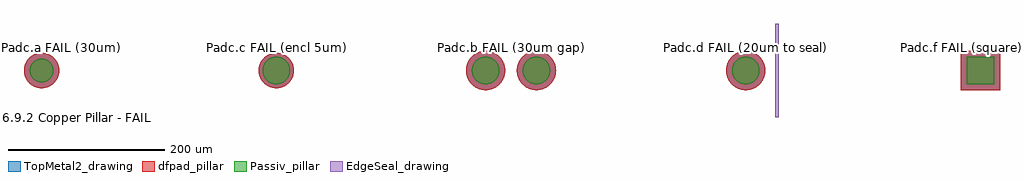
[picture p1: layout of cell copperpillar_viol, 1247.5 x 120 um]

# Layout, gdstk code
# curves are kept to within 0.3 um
import gdstk
lib = gdstk.Library(unit=1e-6, precision=1e-09)
def R(c, l, rs):  # rectangles x0, y0, x1, y1
    for r in rs: c.add(gdstk.rectangle(r[:2], r[2:], *l))
def P(c, l, *ps):  # polygons
    for p in ps: c.add(gdstk.Polygon(p, *l))
Passiv_pillar = (9, 35)
EdgeSeal_drawing = (39, 0)
dfpad_pillar = (41, 35)
TopMetal2_drawing = (134, 0)

copperpillar_viol = lib.new_cell('copperpillar_viol')
R(copperpillar_viol, Passiv_pillar, [(1182.5,-17.5,1217.5,17.5)])
P(copperpillar_viol, Passiv_pillar, [(0,-15),(-5.74,-13.858),(-10.607,-10.607),(-13.858,-5.74),(-15,0),(-13.858,5.74),(-10.607,10.607),(-5.74,13.858),(0,15),(5.74,13.858),(10.607,10.607),(13.858,5.74),(15,0),(13.858,-5.74),(10.607,-10.607),(5.74,-13.858)],
  [(300,-17.5),(296.586,-17.164),(293.303,-16.168),(290.278,-14.551),(287.626,-12.374),(285.449,-9.722),(283.832,-6.697),(282.836,-3.414),(282.5,0),(282.836,3.414),(283.832,6.697),(285.449,9.722),(287.626,12.374),(290.278,14.551),(293.303,16.168),(296.586,17.164),(300,17.5),(303.414,17.164),(306.697,16.168),(309.722,14.551),(312.374,12.374),(314.551,9.722),(316.168,6.697),(317.164,3.414),(317.5,0),(317.164,-3.414),(316.168,-6.697),(314.551,-9.722),(312.374,-12.374),(309.722,-14.551),(306.697,-16.168),(303.414,-17.164)],
  [(567.5,-17.5),(564.086,-17.164),(560.803,-16.168),(557.778,-14.551),(555.126,-12.374),(552.949,-9.722),(551.332,-6.697),(550.336,-3.414),(550,0),(550.336,3.414),(551.332,6.697),(552.949,9.722),(555.126,12.374),(557.778,14.551),(560.803,16.168),(564.086,17.164),(567.5,17.5),(570.914,17.164),(574.197,16.168),(577.222,14.551),(579.874,12.374),(582.051,9.722),(583.668,6.697),(584.664,3.414),(585,0),(584.664,-3.414),(583.668,-6.697),(582.051,-9.722),(579.874,-12.374),(577.222,-14.551),(574.197,-16.168),(570.914,-17.164)],
  [(632.5,-17.5),(629.086,-17.164),(625.803,-16.168),(622.778,-14.551),(620.126,-12.374),(617.949,-9.722),(616.332,-6.697),(615.336,-3.414),(615,0),(615.336,3.414),(616.332,6.697),(617.949,9.722),(620.126,12.374),(622.778,14.551),(625.803,16.168),(629.086,17.164),(632.5,17.5),(635.914,17.164),(639.197,16.168),(642.222,14.551),(644.874,12.374),(647.051,9.722),(648.668,6.697),(649.664,3.414),(650,0),(649.664,-3.414),(648.668,-6.697),(647.051,-9.722),(644.874,-12.374),(642.222,-14.551),(639.197,-16.168),(635.914,-17.164)],
  [(900,-17.5),(896.586,-17.164),(893.303,-16.168),(890.278,-14.551),(887.626,-12.374),(885.449,-9.722),(883.832,-6.697),(882.836,-3.414),(882.5,0),(882.836,3.414),(883.832,6.697),(885.449,9.722),(887.626,12.374),(890.278,14.551),(893.303,16.168),(896.586,17.164),(900,17.5),(903.414,17.164),(906.697,16.168),(909.722,14.551),(912.374,12.374),(914.551,9.722),(916.168,6.697),(917.164,3.414),(917.5,0),(917.164,-3.414),(916.168,-6.697),(914.551,-9.722),(912.374,-12.374),(909.722,-14.551),(906.697,-16.168),(903.414,-17.164)])
R(copperpillar_viol, EdgeSeal_drawing, [(937.5,-60,942.5,60)])
R(copperpillar_viol, dfpad_pillar, [(1175,-25,1225,25)])
P(copperpillar_viol, dfpad_pillar, [(0,-22.5),(-4.39,-22.068),(-8.61,-20.787),(-12.5,-18.708),(-15.91,-15.91),(-18.708,-12.5),(-20.787,-8.61),(-22.068,-4.39),(-22.5,0),(-22.068,4.39),(-20.787,8.61),(-18.708,12.5),(-15.91,15.91),(-12.5,18.708),(-8.61,20.787),(-4.39,22.068),(0,22.5),(4.39,22.068),(8.61,20.787),(12.5,18.708),(15.91,15.91),(18.708,12.5),(20.787,8.61),(22.068,4.39),(22.5,0),(22.068,-4.39),(20.787,-8.61),(18.708,-12.5),(15.91,-15.91),(12.5,-18.708),(8.61,-20.787),(4.39,-22.068)],
  [(300,-22.5),(295.61,-22.068),(291.39,-20.787),(287.5,-18.708),(284.09,-15.91),(281.292,-12.5),(279.213,-8.61),(277.932,-4.39),(277.5,0),(277.932,4.39),(279.213,8.61),(281.292,12.5),(284.09,15.91),(287.5,18.708),(291.39,20.787),(295.61,22.068),(300,22.5),(304.39,22.068),(308.61,20.787),(312.5,18.708),(315.91,15.91),(318.708,12.5),(320.787,8.61),(322.068,4.39),(322.5,0),(322.068,-4.39),(320.787,-8.61),(318.708,-12.5),(315.91,-15.91),(312.5,-18.708),(308.61,-20.787),(304.39,-22.068)],
  [(567.5,-25),(562.623,-24.52),(557.933,-23.097),(553.611,-20.787),(549.822,-17.678),(546.713,-13.889),(544.403,-9.567),(542.98,-4.877),(542.5,0),(542.98,4.877),(544.403,9.567),(546.713,13.889),(549.822,17.678),(553.611,20.787),(557.933,23.097),(562.623,24.52),(567.5,25),(572.377,24.52),(577.067,23.097),(581.389,20.787),(585.178,17.678),(588.287,13.889),(590.597,9.567),(592.02,4.877),(592.5,0),(592.02,-4.877),(590.597,-9.567),(588.287,-13.889),(585.178,-17.678),(581.389,-20.787),(577.067,-23.097),(572.377,-24.52)],
  [(632.5,-25),(627.623,-24.52),(622.933,-23.097),(618.611,-20.787),(614.822,-17.678),(611.713,-13.889),(609.403,-9.567),(607.98,-4.877),(607.5,0),(607.98,4.877),(609.403,9.567),(611.713,13.889),(614.822,17.678),(618.611,20.787),(622.933,23.097),(627.623,24.52),(632.5,25),(637.377,24.52),(642.067,23.097),(646.389,20.787),(650.178,17.678),(653.287,13.889),(655.597,9.567),(657.02,4.877),(657.5,0),(657.02,-4.877),(655.597,-9.567),(653.287,-13.889),(650.178,-17.678),(646.389,-20.787),(642.067,-23.097),(637.377,-24.52)],
  [(900,-25),(895.123,-24.52),(890.433,-23.097),(886.111,-20.787),(882.322,-17.678),(879.213,-13.889),(876.903,-9.567),(875.48,-4.877),(875,0),(875.48,4.877),(876.903,9.567),(879.213,13.889),(882.322,17.678),(886.111,20.787),(890.433,23.097),(895.123,24.52),(900,25),(904.877,24.52),(909.567,23.097),(913.889,20.787),(917.678,17.678),(920.787,13.889),(923.097,9.567),(924.52,4.877),(925,0),(924.52,-4.877),(923.097,-9.567),(920.787,-13.889),(917.678,-17.678),(913.889,-20.787),(909.567,-23.097),(904.877,-24.52)])
R(copperpillar_viol, TopMetal2_drawing, [(1175,-25,1225,25)])
P(copperpillar_viol, TopMetal2_drawing, [(0,-22.5),(-4.39,-22.068),(-8.61,-20.787),(-12.5,-18.708),(-15.91,-15.91),(-18.708,-12.5),(-20.787,-8.61),(-22.068,-4.39),(-22.5,0),(-22.068,4.39),(-20.787,8.61),(-18.708,12.5),(-15.91,15.91),(-12.5,18.708),(-8.61,20.787),(-4.39,22.068),(0,22.5),(4.39,22.068),(8.61,20.787),(12.5,18.708),(15.91,15.91),(18.708,12.5),(20.787,8.61),(22.068,4.39),(22.5,0),(22.068,-4.39),(20.787,-8.61),(18.708,-12.5),(15.91,-15.91),(12.5,-18.708),(8.61,-20.787),(4.39,-22.068)],
  [(300,-22.5),(295.61,-22.068),(291.39,-20.787),(287.5,-18.708),(284.09,-15.91),(281.292,-12.5),(279.213,-8.61),(277.932,-4.39),(277.5,0),(277.932,4.39),(279.213,8.61),(281.292,12.5),(284.09,15.91),(287.5,18.708),(291.39,20.787),(295.61,22.068),(300,22.5),(304.39,22.068),(308.61,20.787),(312.5,18.708),(315.91,15.91),(318.708,12.5),(320.787,8.61),(322.068,4.39),(322.5,0),(322.068,-4.39),(320.787,-8.61),(318.708,-12.5),(315.91,-15.91),(312.5,-18.708),(308.61,-20.787),(304.39,-22.068)],
  [(567.5,-25),(562.623,-24.52),(557.933,-23.097),(553.611,-20.787),(549.822,-17.678),(546.713,-13.889),(544.403,-9.567),(542.98,-4.877),(542.5,0),(542.98,4.877),(544.403,9.567),(546.713,13.889),(549.822,17.678),(553.611,20.787),(557.933,23.097),(562.623,24.52),(567.5,25),(572.377,24.52),(577.067,23.097),(581.389,20.787),(585.178,17.678),(588.287,13.889),(590.597,9.567),(592.02,4.877),(592.5,0),(592.02,-4.877),(590.597,-9.567),(588.287,-13.889),(585.178,-17.678),(581.389,-20.787),(577.067,-23.097),(572.377,-24.52)],
  [(632.5,-25),(627.623,-24.52),(622.933,-23.097),(618.611,-20.787),(614.822,-17.678),(611.713,-13.889),(609.403,-9.567),(607.98,-4.877),(607.5,0),(607.98,4.877),(609.403,9.567),(611.713,13.889),(614.822,17.678),(618.611,20.787),(622.933,23.097),(627.623,24.52),(632.5,25),(637.377,24.52),(642.067,23.097),(646.389,20.787),(650.178,17.678),(653.287,13.889),(655.597,9.567),(657.02,4.877),(657.5,0),(657.02,-4.877),(655.597,-9.567),(653.287,-13.889),(650.178,-17.678),(646.389,-20.787),(642.067,-23.097),(637.377,-24.52)],
  [(900,-25),(895.123,-24.52),(890.433,-23.097),(886.111,-20.787),(882.322,-17.678),(879.213,-13.889),(876.903,-9.567),(875.48,-4.877),(875,0),(875.48,4.877),(876.903,9.567),(879.213,13.889),(882.322,17.678),(886.111,20.787),(890.433,23.097),(895.123,24.52),(900,25),(904.877,24.52),(909.567,23.097),(913.889,20.787),(917.678,17.678),(920.787,13.889),(923.097,9.567),(924.52,4.877),(925,0),(924.52,-4.877),(923.097,-9.567),(920.787,-13.889),(917.678,-17.678),(913.889,-20.787),(909.567,-23.097),(904.877,-24.52)])
copperpillar_viol.add(gdstk.Label('6.9.2 Copper Pillar - FAIL', (0,-60), layer=63, texttype=0))
copperpillar_viol.add(gdstk.Label('Padc.a FAIL (30um)', (0,30), layer=63, texttype=0))
copperpillar_viol.add(gdstk.Label('Padc.c FAIL (encl 5um)', (300,30), layer=63, texttype=0))
copperpillar_viol.add(gdstk.Label('Padc.b FAIL (30um gap)', (600,30), layer=63, texttype=0))
copperpillar_viol.add(gdstk.Label('Padc.d FAIL (20um to seal)', (900,30), layer=63, texttype=0))
copperpillar_viol.add(gdstk.Label('Padc.f FAIL (square)', (1200,30), layer=63, texttype=0))

lib.write_gds('copperpillar_viol.gds')
